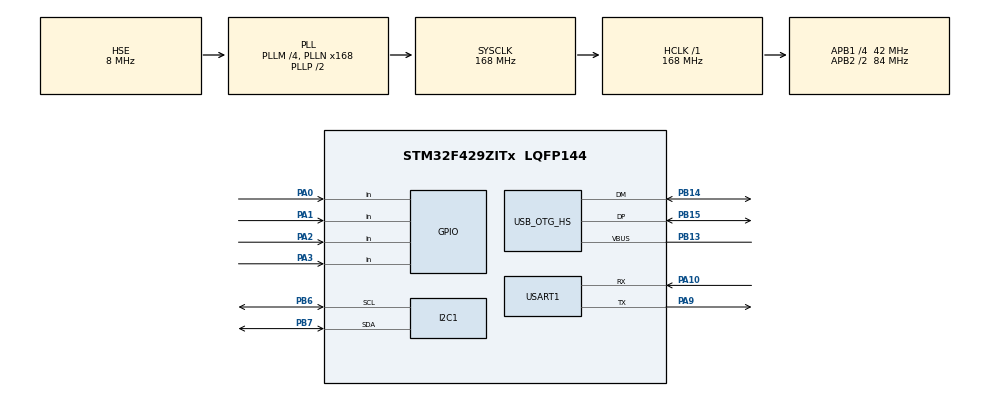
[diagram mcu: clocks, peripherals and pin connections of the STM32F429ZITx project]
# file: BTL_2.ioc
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Mcu.Family=STM32F4
Mcu.Name=STM32F429ZITx
Mcu.Package=LQFP144
NVIC.OTG_HS_IRQn=true\:0\:0\:false\:false\:true\:false\:true\:true
NVIC.PriorityGroup=NVIC_PRIORITYGROUP_4
PA0/WKUP.GPIO_PuPd=GPIO_PULLDOWN
PA0/WKUP.Signal=GPIO_Input
PA1.GPIO_PuPd=GPIO_PULLDOWN
PA1.Signal=GPIO_Input
PA10.Mode=Asynchronous
PA10.Signal=USART1_RX
PA13.Mode=Serial_Wire
PA13.Signal=SYS_JTMS-SWDIO
PA14.Mode=Serial_Wire
PA14.Signal=SYS_JTCK-SWCLK
PA2.GPIO_PuPd=GPIO_PULLDOWN
PA2.Signal=GPIO_Input
PA3.GPIO_PuPd=GPIO_PULLDOWN
PA3.Signal=GPIO_Input
PA9.Mode=Asynchronous
PA9.Signal=USART1_TX
PB13.Mode=Activate_VBUS_FS
PB13.Signal=USB_OTG_HS_VBUS
PB14.Mode=Device_Only_FS
PB14.Signal=USB_OTG_HS_DM
PB15.Mode=Device_Only_FS
PB15.Signal=USB_OTG_HS_DP
PB6.Mode=I2C
PB6.Signal=I2C1_SCL
PB7.Mode=I2C
PB7.Signal=I2C1_SDA
PH0/OSC_IN.Mode=HSE-External-Oscillator
PH0/OSC_IN.Signal=RCC_OSC_IN
PH1/OSC_OUT.Mode=HSE-External-Oscillator
PH1/OSC_OUT.Signal=RCC_OSC_OUT
ProjectManager.HeapSize=0x200
ProjectManager.StackSize=0x400
ProjectManager.TargetToolchain=STM32CubeIDE
RCC.48MHZClocksFreq_Value=48000000
RCC.AHBFreq_Value=168000000
RCC.APB1CLKDivider=RCC_HCLK_DIV4
RCC.APB1Freq_Value=42000000
RCC.APB1TimFreq_Value=84000000
RCC.APB2CLKDivider=RCC_HCLK_DIV2
RCC.APB2Freq_Value=84000000
RCC.APB2TimFreq_Value=168000000
RCC.CortexFreq_Value=168000000
RCC.HCLKFreq_Value=168000000
RCC.HSE_VALUE=8000000
RCC.HSI_VALUE=16000000
RCC.LSE_VALUE=32768
RCC.PLLM=4
RCC.PLLN=168
RCC.PLLQ=7
RCC.SYSCLKFreq_VALUE=168000000
RCC.SYSCLKSource=RCC_SYSCLKSOURCE_PLLCLK
RCC.VCOOutputFreq_Value=336000000
USART1.VirtualMode=VM_ASYNC
USB_DEVICE.CLASS_NAME_HS=HID
USB_DEVICE.VirtualMode-HID_HS=Hid
USB_DEVICE.VirtualModeHS=Hid_HS
USB_OTG_HS.VirtualMode-Device_Only_FS=Device_Only_FS
VP_USB_DEVICE_VS_USB_DEVICE_HID_HS.Mode=HID_HS
board=custom

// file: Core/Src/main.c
/* USER CODE BEGIN Header */
/**
  ******************************************************************************
  * @file           : main.c
  * @brief          : Main program body
  ******************************************************************************
  * @attention
  *
  * Copyright (c) 2025 STMicroelectronics.
  * All rights reserved.
  *
  * This software is licensed under terms that can be found in the LICENSE file
  * in the root directory of this software component.
  * If no LICENSE file comes with this software, it is provided AS-IS.
  *
  ******************************************************************************
  */
/* USER CODE END Header */
#include "main.h"
#include "usb_device.h"

/* USER CODE BEGIN Includes */
#include <stdio.h>
#include <string.h>
#include <stdint.h>
#include <math.h>
#include "stm32f4xx_hal.h"  // Bổ sung để tránh lỗi undefined
#include "kalman.h"         // Cho Kalman filtering
#include "usbd_hid.h"       // Cho USB HID mouse
#include "math.h"

/* USER CODE END Includes */

/* USER CODE BEGIN PD */
// MPU6050 I2C Address và Register defines
#define MPU6050_ADDR 0xD0
#define MPU6050_PWR_MGMT_1   0x6B
#define MPU6050_SMPLRT_DIV   0x19
#define MPU6050_CONFIG       0x1A
#define MPU6050_GYRO_CONFIG  0x1B
#define MPU6050_ACCEL_CONFIG 0x1C
#define MPU6050_GYRO_XOUT_H  0x43

// Mouse control parameters - TĂNG SPEED VÀ ĐỘ NHẠY
#define MOUSE_SENSITIVITY_X  5     // Độ nhạy X axis (giảm = nhạy hơn)
#define MOUSE_SENSITIVITY_Y  5     // Độ nhạy Y axis (giảm = nhạy hơn)
#define GYRO_DEADZONE        3     // Vùng chết để tránh drift (giảm = nhạy hơn)
#define MAX_MOUSE_MOVE       75    // Giới hạn movement tối đa (tăng = nhanh hơn)
#define CALIBRATION_SAMPLES  200   // Số mẫu cho calibration

#define LSB_ACC              16384.0f   // ±2g → 16384 LSB/g
#define LSB_GYRO             131.0f     // ±250 dps → 131 LSB/(°/s)
#define RAD_TO_DEG 57.29577951308232

typedef struct {
    uint8_t buttons;
    int8_t dx;
    int8_t dy;
    uint8_t wheel;
} mouseHID;
/* USER CODE END PD */

I2C_HandleTypeDef hi2c1;

UART_HandleTypeDef huart1;

/* USER CODE BEGIN PV */
// USB HID Device Handle (declared here để tránh undefined reference)
extern USBD_HandleTypeDef hUsbDeviceHS;

// Kalman filters cho gyroscope smoothing
KalmanFilter_t kalman_gyro_x, kalman_gyro_y, kalman_gyro_z;

// Raw gyroscope data
uint8_t gyro_data[6];
int16_t raw_accel_x, raw_accel_y, raw_accel_z;
float accel_x, accel_y, accel_z;

int16_t raw_gyro_x, raw_gyro_y, raw_gyro_z;
float gyro_x, gyro_y, gyro_z;

float angleX, angleY;
uint32_t timer = 0;

// Mouse control variables
uint8_t mouse_enabled = 1;           // Enable/disable mouse
float gyro_offset_x = 0.0f;         // Calibration offsets
float gyro_offset_y = 0.0f;
float gyro_offset_z = 0.0f;

// Debug and timing
uint32_t debug_counter = 0;
uint32_t mouse_packets_sent = 0;
uint8_t usb_ready = 0;               // USB connection status
uint32_t last_hid_time = 0;          // Timing cho HID reports
/* USER CODE END PV */

void SystemClock_Config(void);
static void MX_GPIO_Init(void);
static void MX_I2C1_Init(void);
static void MX_USART1_UART_Init(void);
/* USER CODE BEGIN PFP */
void MPU6050_Init(void);
void Gyro_Calibrate(void);
void Process_Gyro_Mouse(void);
void Send_Mouse_HID(int8_t dx, int8_t dy, uint8_t buttons);
void Debug_Print_Status(void);
void Test_Mouse_Movement(void);
/* USER CODE END PFP */

/* USER CODE BEGIN 0 */

/**
  * @brief  Khởi tạo MPU6050 gyroscope
  * @retval None
  */
void MPU6050_Init(void)
{
    uint8_t data;

    // Wake up MPU6050
    data = 0x00;
    HAL_I2C_Mem_Write(&hi2c1, MPU6050_ADDR, MPU6050_PWR_MGMT_1, 1, &data, 1, HAL_MAX_DELAY);

    // Set sample rate to 1kHz
    data = 0x07;
    HAL_I2C_Mem_Write(&hi2c1, MPU6050_ADDR, MPU6050_SMPLRT_DIV, 1, &data, 1, HAL_MAX_DELAY);

    // Set DLPF to 44Hz
    data = 0x03;
    HAL_I2C_Mem_Write(&hi2c1, MPU6050_ADDR, MPU6050_CONFIG, 1, &data, 1, HAL_MAX_DELAY);

    // Set gyro range to ±2000°/s
    data = 0x18;
    HAL_I2C_Mem_Write(&hi2c1, MPU6050_ADDR, MPU6050_GYRO_CONFIG, 1, &data, 1, HAL_MAX_DELAY);

    // Set accelerometer range to ±8g
    data = 0x10;
    HAL_I2C_Mem_Write(&hi2c1, MPU6050_ADDR, MPU6050_ACCEL_CONFIG, 1, &data, 1, HAL_MAX_DELAY);

    HAL_Delay(100);
}

/**
  * @brief  Calibrate gyroscope để tìm offset
  * @retval None
  */
void Gyro_Calibrate(void)
{
    char buffer[100];
    float sum_x = 0, sum_y = 0, sum_z = 0;

    sprintf(buffer, "🔧 Calibrating gyroscope... Keep still!\r\n");
    HAL_UART_Transmit(&huart1, (uint8_t*)buffer, strlen(buffer), HAL_MAX_DELAY);

    for(int i = 0; i < CALIBRATION_SAMPLES; i++)
    {
        if(HAL_I2C_Mem_Read(&hi2c1, MPU6050_ADDR, MPU6050_GYRO_XOUT_H, 1, gyro_data, 6, HAL_MAX_DELAY) == HAL_OK)
        {
            int16_t raw_x = (int16_t)(gyro_data[0] << 8 | gyro_data[1]);
            int16_t raw_y = (int16_t)(gyro_data[2] << 8 | gyro_data[3]);
            int16_t raw_z = (int16_t)(gyro_data[4] << 8 | gyro_data[5]);

            // ±2000°/s range, scale factor is 16.4 LSB/°/s
            sum_x += (float)raw_x / 16.4f;
            sum_y += (float)raw_y / 16.4f;
            sum_z += (float)raw_z / 16.4f;
        }
        HAL_Delay(5);
    }

    gyro_offset_x = sum_x / CALIBRATION_SAMPLES;
    gyro_offset_y = sum_y / CALIBRATION_SAMPLES;
    gyro_offset_z = sum_z / CALIBRATION_SAMPLES;

    sprintf(buffer, "✅ Gyro calibrated! Offsets: X=%.1f Y=%.1f Z=%.1f\r\n",
            gyro_offset_x, gyro_offset_y, gyro_offset_z);
    HAL_UART_Transmit(&huart1, (uint8_t*)buffer, strlen(buffer), HAL_MAX_DELAY);
}

/**
  * @brief  Gửi USB HID mouse report với rate limiting
  * @param  dx: Delta X (-127 to 127)
  * @param  dy: Delta Y (-127 to 127)
  * @param  buttons: Button state (bit 0: left, bit 1: right)
  * @retval None
  */
void Send_Mouse_HID(int8_t dx, int8_t dy, uint8_t buttons)
{
    static uint32_t busy_count = 0;

    // Kiểm tra USB đã sẵn sàng chưa
    if(!usb_ready) {
        return; // Không spam debug message
    }

    // Rate limiting: gửi mỗi 8ms (125Hz) - tần số ổn định cho USB HS
    uint32_t current_time = HAL_GetTick();
    if(current_time - last_hid_time < 8) {
        return; // Quá sớm, skip report này
    }
    last_hid_time = current_time;
    mouseHID mousehid = {0};

    // Tạo HID report theo standard mouse format
    mousehid.buttons = buttons;
    mousehid.dx = dx;
    mousehid.dy = dy;
    mousehid.wheel = 0;

    USBD_StatusTypeDef result = USBD_HID_SendReport(&hUsbDeviceHS, (uint8_t*)&mousehid, sizeof(mousehid));

    if(result == USBD_OK) {
        mouse_packets_sent++;
        busy_count = 0; // Reset busy counter khi thành công

        // Debug thành công (hiện ít thôi để không spam)
        if(mouse_packets_sent % 200 == 1) {
            char debug_msg[80];
            sprintf(debug_msg, "✅ USB OK: #%lu (dx=%d, dy=%d)\r\n",
                    mouse_packets_sent, dx, dy);
            HAL_UART_Transmit(&huart1, (uint8_t*)debug_msg, strlen(debug_msg), HAL_MAX_DELAY);
        }
    }
    else if(result == 3) { // USBD_BUSY
        busy_count++;
        // Tự động điều chỉnh tần số gửi khi busy
        if(busy_count >= 20) {
            last_hid_time += 10; // Tăng delay để giảm tần số
            if(busy_count >= 50) {
                HAL_UART_Transmit(&huart1, (uint8_t*)"⚠️  USB busy (auto-adjusting rate)\r\n", 37, HAL_MAX_DELAY);
                busy_count = 0; // Reset để không spam
            }
        }
    }
    else {
        // Lỗi khác
        if(debug_counter % 100 == 0) { // Hiện ít thôi
            char debug_msg[60];
            sprintf(debug_msg, "❌ USB Error: %d\r\n", result);
            HAL_UART_Transmit(&huart1, (uint8_t*)debug_msg, strlen(debug_msg), HAL_MAX_DELAY);
        }
    }
}

/**
  * @brief  Xử lý gyroscope data và điều khiển chuột
  * @retval None
  */
void Process_Gyro_Mouse(void)
{
    if(!mouse_enabled) return;

    // Đọc dữ liệu gyroscope từ MPU6050
    if(HAL_I2C_Mem_Read(&hi2c1, MPU6050_ADDR, MPU6050_GYRO_XOUT_H, 1, gyro_data, 6, HAL_MAX_DELAY) == HAL_OK)
    {
        raw_accel_x = (int16_t)(gyro_data[0] << 8 | gyro_data[1]);
        raw_accel_y = (int16_t)(gyro_data[2] << 8 | gyro_data[3]);
        raw_accel_z = (int16_t)(gyro_data[4] << 8 | gyro_data[5]);

        // Chuyển đổi sang °/s và trừ offset
        float accel_x_raw = ((float)raw_accel_x / 16.4f) - gyro_offset_x;
        float accel_y_raw = ((float)raw_accel_y / 16.4f) - gyro_offset_y;
        float accel_z_raw = ((float)raw_accel_z / 16.4f) - gyro_offset_z;

        raw_gyro_x = (int16_t)(gyro_data[8] << 8 | gyro_data[9]);
        raw_gyro_y = (int16_t)(gyro_data[10] << 8 | gyro_data[11]);
        raw_gyro_z = (int16_t)(gyro_data[12] << 8 | gyro_data[13]);

        float gyro_x_raw = ((float)raw_gyro_x / LSB_GYRO);
        float gyro_y_raw = ((float)raw_gyro_y / LSB_GYRO);
        float gyro_z_raw = ((float)raw_gyro_z / LSB_GYRO);

        // Tính thời gian dt giữa hai lần đo
        double dt = (double)(HAL_GetTick() - timer) / 1000.0;
        timer = HAL_GetTick();

        // Tính góc roll từ gia tốc (gần đúng)
        double roll_sqrt = sqrt(raw_accel_x * raw_accel_x + raw_accel_z * raw_accel_z);
        double roll = (roll_sqrt != 0.0) ? atan(raw_accel_y / roll_sqrt) * RAD_TO_DEG : 0.0;

        // Tính góc pitch từ gia tốc bằng atan2
        double pitch = atan2(-raw_accel_x, raw_accel_z) * RAD_TO_DEG;

        // Bảo vệ bộ lọc Kalman khỏi nhảy đột ngột khi pitch vượt ±90°
        if ((pitch < -90 && angleY > 90) || (pitch > 90 && angleY < -90)) {
        	kalman_gyro_y.angle = pitch;
            angleY = pitch;
        } else {
            angleY = KalmanFilter_Update(&kalman_gyro_y, pitch,gyro_y_raw, dt);
        }

        // Nếu pitch vượt ±90°, đảo chiều trục X
        if (fabs(angleY) > 90)
        	 gyro_x_raw = - gyro_x_raw;

        // Cập nhật roll bằng Kalman filter
        angleX = KalmanFilter_Update(&kalman_gyro_x, roll,gyro_x_raw, dt);

        // Calculate mouse movement
        int8_t mouse_dx = 0, mouse_dy = 0;

        // Apply deadzone và calculate movement
        if(abs((int)angleX) > GYRO_DEADZONE)
        {
            mouse_dx = (int8_t)(-angleX / MOUSE_SENSITIVITY_X); // Invert X for natural movement
        }

        if(abs((int)angleY) > GYRO_DEADZONE)
        {
            mouse_dy = (int8_t)(angleY / MOUSE_SENSITIVITY_Y);
        }

        // Limit movement
        if(mouse_dx > MAX_MOUSE_MOVE) mouse_dx = MAX_MOUSE_MOVE;
        if(mouse_dx < -MAX_MOUSE_MOVE) mouse_dx = -MAX_MOUSE_MOVE;
        if(mouse_dy > MAX_MOUSE_MOVE) mouse_dy = MAX_MOUSE_MOVE;
        if(mouse_dy < -MAX_MOUSE_MOVE) mouse_dy = -MAX_MOUSE_MOVE;

        // Đọc trạng thái buttons (nếu có GPIO setup)
        uint8_t buttons = 0;
        if(HAL_GPIO_ReadPin(GPIOA, GPIO_PIN_2) == GPIO_PIN_SET) buttons |= 0x01; // Left click (PA2)
        if(HAL_GPIO_ReadPin(GPIOA, GPIO_PIN_3) == GPIO_PIN_SET) buttons |= 0x02; // Right click (PA3)

        // Gửi mouse movement qua USB HID nếu có movement hoặc button press
        if(mouse_dx != 0 || mouse_dy != 0 || buttons != 0)
        {
            Send_Mouse_HID(mouse_dx, mouse_dy, buttons);

            // Debug output cho movement (hiện mọi movement để debug)
            if(abs(mouse_dx) >= 1 || abs(mouse_dy) >= 1 || buttons != 0) {
                char debug_buffer[120];
                sprintf(debug_buffer, "🖱️  Move: dx=%d dy=%d | Gyro: gx=%.1f gy=%.1f | Btn=%d\r\n",
                        mouse_dx, mouse_dy, angleX, angleY, buttons);
                HAL_UART_Transmit(&huart1, (uint8_t*)debug_buffer, strlen(debug_buffer), HAL_MAX_DELAY);
            }
        }
    }
}

/**
  * @brief  In debug status mỗi 5 giây
  * @retval None
  */
void Debug_Print_Status(void)
{
    char status_buffer[150];
    debug_counter++;

    sprintf(status_buffer, "📊 Status #%lu: Mouse %s | Packets: %lu | Offsets: X=%.1f Y=%.1f Z=%.1f\r\n",
            debug_counter,
            mouse_enabled ? "ON" : "OFF",
            mouse_packets_sent,
            gyro_offset_x, gyro_offset_y, gyro_offset_z);
    HAL_UART_Transmit(&huart1, (uint8_t*)status_buffer, strlen(status_buffer), HAL_MAX_DELAY);
}

/**
  * @brief  Test mouse movement để verify USB HID
  * @retval None
  */
void Test_Mouse_Movement(void)
{
    HAL_UART_Transmit(&huart1, (uint8_t*)"🧪 Testing USB HID mouse...\r\n", 30, HAL_MAX_DELAY);

    // Test với timing tốt hơn cho USB HID
    HAL_Delay(100); // Wait trước khi test
    Send_Mouse_HID(5, 0, 0);   // Right (nhỏ hơn)
    HAL_Delay(50);
    Send_Mouse_HID(0, 5, 0);   // Down
    HAL_Delay(50);
    Send_Mouse_HID(-5, 0, 0);  // Left
    HAL_Delay(50);
    Send_Mouse_HID(0, -5, 0);  // Up
    HAL_Delay(50);

    HAL_UART_Transmit(&huart1, (uint8_t*)"✅ Mouse test completed!\r\n", 27, HAL_MAX_DELAY);
}

/* USER CODE END 0 */

int main(void)
{

  /* MCU Configuration--------------------------------------------------------*/

  /* Reset of all peripherals, Initializes the Flash interface and the Systick. */
  HAL_Init();

  /* Configure the system clock */
  SystemClock_Config();

  /* Initialize all configured peripherals */
  MX_GPIO_Init();
  MX_I2C1_Init();
  MX_USB_DEVICE_Init();
  MX_USART1_UART_Init();
  /* USER CODE BEGIN 2 */

  // Khởi động thông báo
  HAL_UART_Transmit(&huart1, (uint8_t*)"🚀 STM32 Gyroscope Mouse Started\r\n", 35, HAL_MAX_DELAY);
  HAL_Delay(1000);

  // Khởi tạo MPU6050
  HAL_UART_Transmit(&huart1, (uint8_t*)"🔧 Initializing MPU6050...\r\n", 29, HAL_MAX_DELAY);
  MPU6050_Init();
  HAL_UART_Transmit(&huart1, (uint8_t*)"✅ MPU6050 initialized!\r\n", 26, HAL_MAX_DELAY);
  HAL_Delay(1000);

  // Khởi tạo Kalman filters
  HAL_UART_Transmit(&huart1, (uint8_t*)"🔧 Initializing Kalman filters...\r\n", 36, HAL_MAX_DELAY);
  KalmanFilter_Init(&kalman_gyro_x, 0.001, 0.003, 0.03);
  KalmanFilter_Init(&kalman_gyro_y, 0.001, 0.003, 0.03);
  KalmanFilter_Init(&kalman_gyro_z, 0.001, 0.003, 0.03);
  HAL_UART_Transmit(&huart1, (uint8_t*)"✅ Kalman filters ready!\r\n", 27, HAL_MAX_DELAY);

  // Gyroscope calibration
  Gyro_Calibrate();

  // Final setup
  HAL_Delay(1000);
  HAL_UART_Transmit(&huart1, (uint8_t*)"🖱️  Gyroscope Mouse READY! Tilt to move cursor.\r\n", 51, HAL_MAX_DELAY);
  HAL_UART_Transmit(&huart1, (uint8_t*)"📌 PA2=Left Click, PA3=Right Click\r\n", 37, HAL_MAX_DELAY);
  HAL_UART_Transmit(&huart1, (uint8_t*)"═══════════════════════════════════\r\n", 37, HAL_MAX_DELAY);

  // Wait for USB HS enumeration (important cho USB HS)
  HAL_UART_Transmit(&huart1, (uint8_t*)"⏳ Waiting for USB HS enumeration...\r\n", 39, HAL_MAX_DELAY);
  HAL_Delay(3000);  // USB HS cần thời gian dài hơn để enumerate

  // Enable USB mouse function
  usb_ready = 1;
  HAL_UART_Transmit(&huart1, (uint8_t*)"🔌 USB HID Mouse enabled!\r\n", 28, HAL_MAX_DELAY);

  // Test USB HID mouse movement
  Test_Mouse_Movement();

  // Hiện thông tin debug đầu tiên
  Debug_Print_Status();

  /* USER CODE END 2 */

  /* Infinite loop */
  /* USER CODE BEGIN WHILE */
  while (1)
  {

    // Đọc trạng thái PA2 và PA3 và in ra UART
    GPIO_PinState pa2_state = HAL_GPIO_ReadPin(GPIOA, GPIO_PIN_2);
    GPIO_PinState pa3_state = HAL_GPIO_ReadPin(GPIOA, GPIO_PIN_3);

    char pa_status_msg[64];
    sprintf(pa_status_msg, "PA2: %s | PA3: %s\r\n",
            (pa2_state == GPIO_PIN_SET) ? "HIGH" : "LOW",
            (pa3_state == GPIO_PIN_SET) ? "HIGH" : "LOW");
    HAL_UART_Transmit(&huart1, (uint8_t*)pa_status_msg, strlen(pa_status_msg), HAL_MAX_DELAY);

    Process_Gyro_Mouse();

    //Debug status mỗi 5 giây
   static uint32_t last_debug_time = 0;
   if(HAL_GetTick() - last_debug_time > 5000) {
       last_debug_time = HAL_GetTick();
       Debug_Print_Status();
   }

    /* USER CODE END WHILE */

  }
}

void SystemClock_Config(void)
{
  RCC_OscInitTypeDef RCC_OscInitStruct = {0};
  RCC_ClkInitTypeDef RCC_ClkInitStruct = {0};

  /** Configure the main internal regulator output voltage
  */
  __HAL_RCC_PWR_CLK_ENABLE();
  __HAL_PWR_VOLTAGESCALING_CONFIG(PWR_REGULATOR_VOLTAGE_SCALE1);

  /** Initializes the RCC Oscillators according to the specified parameters
  * in the RCC_OscInitTypeDef structure.
  */
  RCC_OscInitStruct.OscillatorType = RCC_OSCILLATORTYPE_HSE;
  RCC_OscInitStruct.HSEState = RCC_HSE_ON;
  RCC_OscInitStruct.PLL.PLLState = RCC_PLL_ON;
  RCC_OscInitStruct.PLL.PLLSource = RCC_PLLSOURCE_HSE;
  RCC_OscInitStruct.PLL.PLLM = 4;
  RCC_OscInitStruct.PLL.PLLN = 168;
  RCC_OscInitStruct.PLL.PLLP = RCC_PLLP_DIV2;
  RCC_OscInitStruct.PLL.PLLQ = 7;
  if (HAL_RCC_OscConfig(&RCC_OscInitStruct) != HAL_OK)
  {
    Error_Handler();
  }

  /** Initializes the CPU, AHB and APB buses clocks
  */
  RCC_ClkInitStruct.ClockType = RCC_CLOCKTYPE_HCLK|RCC_CLOCKTYPE_SYSCLK
                              |RCC_CLOCKTYPE_PCLK1|RCC_CLOCKTYPE_PCLK2;
  RCC_ClkInitStruct.SYSCLKSource = RCC_SYSCLKSOURCE_PLLCLK;
  RCC_ClkInitStruct.AHBCLKDivider = RCC_SYSCLK_DIV1;
  RCC_ClkInitStruct.APB1CLKDivider = RCC_HCLK_DIV4;
  RCC_ClkInitStruct.APB2CLKDivider = RCC_HCLK_DIV2;

  if (HAL_RCC_ClockConfig(&RCC_ClkInitStruct, FLASH_LATENCY_5) != HAL_OK)
  {
    Error_Handler();
  }
}

static void MX_I2C1_Init(void)
{

  hi2c1.Instance = I2C1;
  hi2c1.Init.ClockSpeed = 100000;
  hi2c1.Init.DutyCycle = I2C_DUTYCYCLE_2;
  hi2c1.Init.OwnAddress1 = 0;
  hi2c1.Init.AddressingMode = I2C_ADDRESSINGMODE_7BIT;
  hi2c1.Init.DualAddressMode = I2C_DUALADDRESS_DISABLE;
  hi2c1.Init.OwnAddress2 = 0;
  hi2c1.Init.GeneralCallMode = I2C_GENERALCALL_DISABLE;
  hi2c1.Init.NoStretchMode = I2C_NOSTRETCH_DISABLE;
  if (HAL_I2C_Init(&hi2c1) != HAL_OK)
  {
    Error_Handler();
  }

  /** Configure Analogue filter
  */
  if (HAL_I2CEx_ConfigAnalogFilter(&hi2c1, I2C_ANALOGFILTER_ENABLE) != HAL_OK)
  {
    Error_Handler();
  }

  /** Configure Digital filter
  */
  if (HAL_I2CEx_ConfigDigitalFilter(&hi2c1, 0) != HAL_OK)
  {
    Error_Handler();
  }

}

static void MX_USART1_UART_Init(void)
{

  huart1.Instance = USART1;
  huart1.Init.BaudRate = 115200;
  huart1.Init.WordLength = UART_WORDLENGTH_8B;
  huart1.Init.StopBits = UART_STOPBITS_1;
  huart1.Init.Parity = UART_PARITY_NONE;
  huart1.Init.Mode = UART_MODE_TX_RX;
  huart1.Init.HwFlowCtl = UART_HWCONTROL_NONE;
  huart1.Init.OverSampling = UART_OVERSAMPLING_16;
  if (HAL_UART_Init(&huart1) != HAL_OK)
  {
    Error_Handler();
  }

}

static void MX_GPIO_Init(void)
{
  GPIO_InitTypeDef GPIO_InitStruct = {0};

  /* GPIO Ports Clock Enable */
  __HAL_RCC_GPIOH_CLK_ENABLE();
  __HAL_RCC_GPIOA_CLK_ENABLE();
  __HAL_RCC_GPIOB_CLK_ENABLE();

  /*Configure GPIO pins : PA0 PA1 PA2 PA3 */
  GPIO_InitStruct.Pin = GPIO_PIN_0|GPIO_PIN_1|GPIO_PIN_2|GPIO_PIN_3;
  GPIO_InitStruct.Mode = GPIO_MODE_INPUT;
  GPIO_InitStruct.Pull = GPIO_PULLDOWN;
  HAL_GPIO_Init(GPIOA, &GPIO_InitStruct);

}

void Error_Handler(void)
{
  __disable_irq();
  while (1)
  {
  }
}
